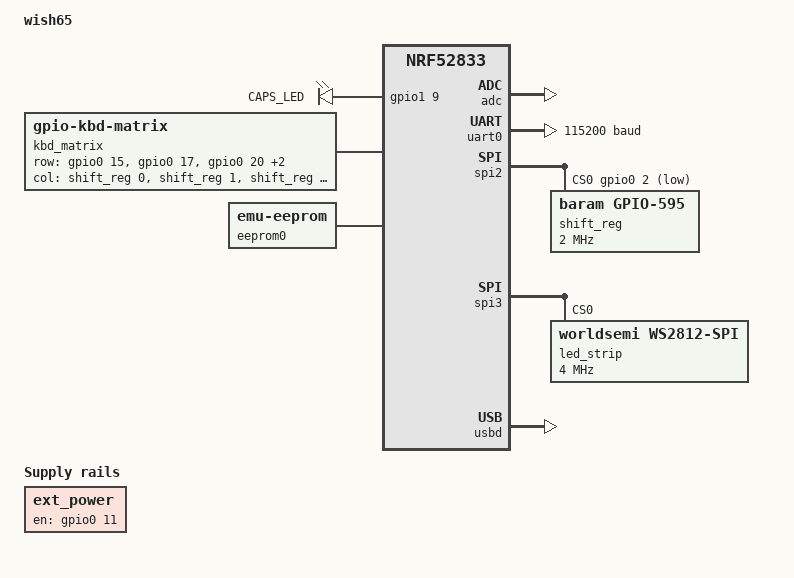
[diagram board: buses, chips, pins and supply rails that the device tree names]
/dts-v1/;
#include <nordic/nrf52833_qiaa.dtsi>
#include "wish65-pinctrl.dtsi"
#include <zephyr/dt-bindings/dt-util.h>      // BIT()
#include <zephyr/dt-bindings/led/led.h>      // LED_COLOR_ID_* (ws2812 color-mapping)

/*
 * wish65 — 65% 배열, nRF52833.
 *
 * wish60 과의 차이(구조에 영향을 주는 것만):
 *  - **SoC 가 다르다**: nRF52833 (flash 512KB / RAM 128KB). wish60 은 nRF52840 (1MB/256KB).
 *  - **컬럼을 74HC595 두 개 직렬로 구동**한다(16핀). GPIO 부족 해결책.
 *  - **다이오드가 col2row** 라 매트릭스 방향이 wish60(row2col)과 **반대**다 — config.h 의
 *    MATRIX_DRIVE_IS_QMK_COL 참고. 595 는 읽기가 안 되니 반드시 구동측(col)에 있어야 하고,
 *    구동측이 col 이면 다이오드는 col2row 일 수밖에 없다. 구조적 귀결이다.
 *  - **디버그 LED 가 없다**(wish60 은 P0.31). Caps LED 는 P1.09 에 있다.
 *  - 네오픽셀 18개(wish60 은 16), ext-power P0.11(wish60 은 P0.30).
 */

/ {
	model = "wish65";
	compatible = "baram,wish65";

	chosen {
		zephyr,sram = &sram0;
		zephyr,flash = &flash0;
		zephyr,code-partition = &code_partition;
		zephyr,console = &uart0;
	};

	/*
	 * **디버그 LED 가 없다** — wish60 은 P0.31 에 있지만 이 보드엔 그 부품이 없다(회로도 확인).
	 * 그래서 `leds` 노드를 두지 않는다 -> hw_def.h 의 DT_NODE_EXISTS 가 _USE_HW_LED 를 끄고,
	 * led.h 가 ledOn/ledOff/ledToSleep 을 no-op 매크로로 바꾼다. 공통 코드는 손댈 게 없다.
	 *
	 * 기판의 LED3(NCD0805R1)는 충전기(TP4054)의 CHRG 상태 표시라 MCU 가 구동하지 않는다.
	 */

	/*
	 * 키보드 인디케이터 LED — Caps Lock (P1.09).
	 * 회로: P1.09 -> R4(100) -> Q1(2N7002 NMOS) -> LED1(XL-3215UWC). 게이트 구동이므로 ACTIVE_HIGH.
	 * 사용처: keyboards/wish65/port/led_port.c 의 led_update_kb().
	 */
	indicator_leds {
		compatible = "gpio-leds";
		caps_led: led_0 {
			gpios = <&gpio1 9 GPIO_ACTIVE_HIGH>;
			label = "CAPS_LED";
		};
	};

	usb_hid_kbd: hid_kbd {
		compatible = "zephyr,hid-device";
		label = "HID_KBD";
		protocol-code = "keyboard";
		in-report-size = <64>;
		in-polling-period-us = <1000>;
	};

	usb_hid_via: hid_via {
		compatible = "zephyr,hid-device";
		label = "HID_VIA";
		protocol-code = "none";
		in-report-size = <32>;
		out-report-size = <32>;
		in-polling-period-us = <1000>;
		out-polling-period-us = <1000>;
	};

	usb_hid_exk: hid_exk {
		compatible = "zephyr,hid-device";
		label = "HID_EXK";
		protocol-code = "none";
		in-report-size = <64>;
		in-polling-period-us = <1000>;
	};

	/*
	 * 네오픽셀 전원 레일 (wish65: P0.11).
	 * 이 레일은 **네오픽셀만** 끊는다 — 595 는 상시 전원이라 deep sleep 에서도 컬럼 구동이
	 * 유지된다(래치). 그래서 웨이크업이 성립한다. §4.2 참고.
	 * regulator-boot-on 없음 = 부팅 시 꺼진 상태. RGB 를 켤 때만 올린다.
	 */
	ext_power: ext-power {
		compatible = "regulator-fixed";
		regulator-name = "ext-power";
		enable-gpios = <&gpio0 11 GPIO_ACTIVE_HIGH>;
		startup-delay-us = <1000>;
	};

	/*
	 * 키 매트릭스 — Zephyr 네이티브 gpio-kbd-matrix.
	 *
	 * Zephyr 명명: col-gpios = 구동 출력, row-gpios = 입력 라인.
	 * wish65 는 col2row 라 **구동(col-gpios) = QMK col = 595**, **입력(row-gpios) = QMK row**.
	 * wish60(row2col)과 반대다 — config.h 의 MATRIX_DRIVE_IS_QMK_COL 이 그걸 알린다.
	 */
	kbd_matrix: kbd-matrix {
		compatible = "gpio-kbd-matrix";

		/* 입력 = QMK row 5개 (진짜 MCU GPIO — 인터럽트 웨이크업이 여기 걸린다) */
		row-gpios = <&gpio0 15 (GPIO_ACTIVE_HIGH | GPIO_PULL_DOWN)>,   /* row0 */
		            <&gpio0 17 (GPIO_ACTIVE_HIGH | GPIO_PULL_DOWN)>,   /* row1 */
		            <&gpio0 20 (GPIO_ACTIVE_HIGH | GPIO_PULL_DOWN)>,   /* row2 */
		            <&gpio0 30 (GPIO_ACTIVE_HIGH | GPIO_PULL_DOWN)>,   /* row3 */
		            <&gpio0 31 (GPIO_ACTIVE_HIGH | GPIO_PULL_DOWN)>;   /* row4 */

		/* 구동 = QMK col 16개 (595 두 개 직렬) */
		col-gpios = <&shift_reg  0 GPIO_ACTIVE_HIGH>,
		            <&shift_reg  1 GPIO_ACTIVE_HIGH>,
		            <&shift_reg  2 GPIO_ACTIVE_HIGH>,
		            <&shift_reg  3 GPIO_ACTIVE_HIGH>,
		            <&shift_reg  4 GPIO_ACTIVE_HIGH>,
		            <&shift_reg  5 GPIO_ACTIVE_HIGH>,
		            <&shift_reg  6 GPIO_ACTIVE_HIGH>,
		            <&shift_reg  7 GPIO_ACTIVE_HIGH>,
		            <&shift_reg  8 GPIO_ACTIVE_HIGH>,
		            <&shift_reg  9 GPIO_ACTIVE_HIGH>,
		            <&shift_reg 10 GPIO_ACTIVE_HIGH>,
		            <&shift_reg 11 GPIO_ACTIVE_HIGH>,
		            <&shift_reg 12 GPIO_ACTIVE_HIGH>,
		            <&shift_reg 13 GPIO_ACTIVE_HIGH>,
		            <&shift_reg 14 GPIO_ACTIVE_HIGH>,
		            <&shift_reg 15 GPIO_ACTIVE_HIGH>;

		idle-mode = "interrupt";   /* 키 없을 때 인터럽트 대기 → CPU sleep */
		wakeup-source;
		no-ghostkey-check;         /* 다이오드(col2row) 있으므로 고스팅 검사 불필요 */

		/*
		 * [주의] wish60(2ms)보다 느리게 잡았다. 컬럼 구동마다 **SPI 트랜잭션**이 일어나기
		 * 때문이다 — 16컬럼 × 500Hz = 8k SPI/초. wish60 은 GPIO 토글이라 공짜였다.
		 * 실측 후 조정할 것(§4.2 의 "SPI 비용" 항목). QMK 처리 주기와는 별개 노브다.
		 */
		poll-period-ms   = <4>;
		debounce-down-ms = <0>;    /* 디바운스는 QMK 가 담당 (이중 디바운스 방지) */
		debounce-up-ms   = <0>;
	};
};

&flash0 {
	/*
	 * wish65 단일슬롯 레이아웃 — **nRF52833 은 512KB** 라 wish60(1MB)과 다르다.
	 * UF2 부트로더가 0x74000 에 미리 들어있다고 전제한다(zmk-config 의 wish65 와 동일 위치).
	 * 반드시 --no-sysbuild 로 빌드할 것. §2.2/§2.3.
	 *
	 * ZMK 는 code 428KB / storage 32KB 로 잡았지만, 우리는 emu-eeprom(QMK 키맵)이 별도로
	 * 필요하므로 재배분했다. 현재 앱이 ~240KB 라 code 380KB 면 여유가 충분하다.
	 */
	partitions {
		compatible = "fixed-partitions";
		#address-cells = <1>;
		#size-cells = <1>;

		sd_partition: partition@0 {
			reg = <0x00000000 0x00001000>;
		};

		code_partition: partition@1000 {
			reg = <0x00001000 0x0005f000>;    /* 380KB */
		};

		/* QMK 키맵 영속화용 emu-eeprom 백엔드 (32KB) */
		eeprom_partition: partition@60000 {
			label = "eeprom";
			reg = <0x00060000 0x00008000>;
		};

		/* NVS/settings (BLE bond 등) */
		storage_partition: partition@68000 {
			label = "storage";
			reg = <0x00068000 0x0000c000>;    /* 48KB */
		};

		boot_partition: partition@74000 {
			reg = <0x00074000 0x0000c000>;    /* 48KB — 미리 들어있는 UF2 부트로더 */
		};
	};
};

/ {
	/* QMK dynamic_keymap 저장소. size 는 config.h 의 TOTAL_EEPROM_BYTE_COUNT 와 일치시킬 것. */
	eeprom0: eeprom {
		compatible = "zephyr,emu-eeprom";
		size = <4096>;
		pagesize = <0x2000>;
		partition = <&eeprom_partition>;
		rambuf;
		partition-erase;
	};
};

/*
 * sense-edge-mask — row-gpios(입력) 핀을 그대로 BIT() 로 나열한다. 빠지면 빌드 에러
 * (port/matrix.c 의 BUILD_ASSERT). deep sleep(System OFF)에서 GPIOTE 가 꺼지므로
 * DETECT/SENSE 로만 깨어날 수 있다. §3.5 참고.
 */
&gpio0 {
	status = "okay";
	sense-edge-mask = <(BIT(15) | BIT(17) | BIT(20) | BIT(30) | BIT(31))>;
};

&gpio1 {
	status = "okay";
};

&gpiote {
	status = "okay";
};

/* 배터리 잔량(VDDH). MAX17048 노드가 없으므로 driver/battery.c 가 VDDH ADC 로 간다. §6.3 */
&adc {
	status = "okay";
};

&uart0 {
	status = "okay";
	pinctrl-0 = <&uart0_default>;
	pinctrl-1 = <&uart0_sleep>;
	pinctrl-names = "default", "sleep";
	compatible = "nordic,nrf-uarte";
	current-speed = <115200>;
};

/*
 * 74HC595 두 개 직렬 -> 16컬럼 구동. 드라이버: src/hw/driver/gpio_595.c (ZMK 이식).
 * CS 가 595 의 래치(RCLK)다 — SPI 전송이 끝나며 CS 가 올라갈 때 시프트된 값이 출력에 실린다.
 */
&spi2 {
	compatible = "nordic,nrf-spim";
	status = "okay";

	pinctrl-0 = <&spi2_default>;
	pinctrl-1 = <&spi2_sleep>;
	pinctrl-names = "default", "sleep";

	cs-gpios = <&gpio0 2 GPIO_ACTIVE_LOW>;   /* 래치(RCLK) */

	shift_reg: gpio595@0 {
		compatible = "baram,gpio-595";
		status = "okay";
		gpio-controller;
		#gpio-cells = <2>;
		reg = <0>;
		ngpios = <16>;                   /* 595 2개 × 8 */
		spi-max-frequency = <2000000>;
	};
};

/*
 * 네오픽셀 — Zephyr 네이티브 worldsemi,ws2812-spi. 전원은 위 ext_power 레일이 공급한다.
 * 값(chain-length/color-mapping/frame)은 wish65 회로 기준.
 */
&spi3 {
	compatible = "nordic,nrf-spim";
	status = "okay";

	pinctrl-0 = <&spi3_default>;
	pinctrl-1 = <&spi3_sleep>;
	pinctrl-names = "default", "sleep";

	led_strip: ws2812@0 {
		compatible = "worldsemi,ws2812-spi";
		reg = <0>;
		spi-max-frequency = <4000000>;

		chain-length = <18>;        /* wish65 언더글로우 LED 개수 */
		spi-one-frame = <0x70>;
		spi-zero-frame = <0x40>;
		color-mapping = <LED_COLOR_ID_GREEN LED_COLOR_ID_RED LED_COLOR_ID_BLUE>;
	};
};

zephyr_udc0: &usbd {
	compatible = "nordic,nrf-usbd";
	status = "okay";
	num-bidir-endpoints = <0>;
	num-in-endpoints = <7>;
	num-out-endpoints = <2>;
	num-isoin-endpoints = <0>;
	num-isoout-endpoints = <0>;
};
